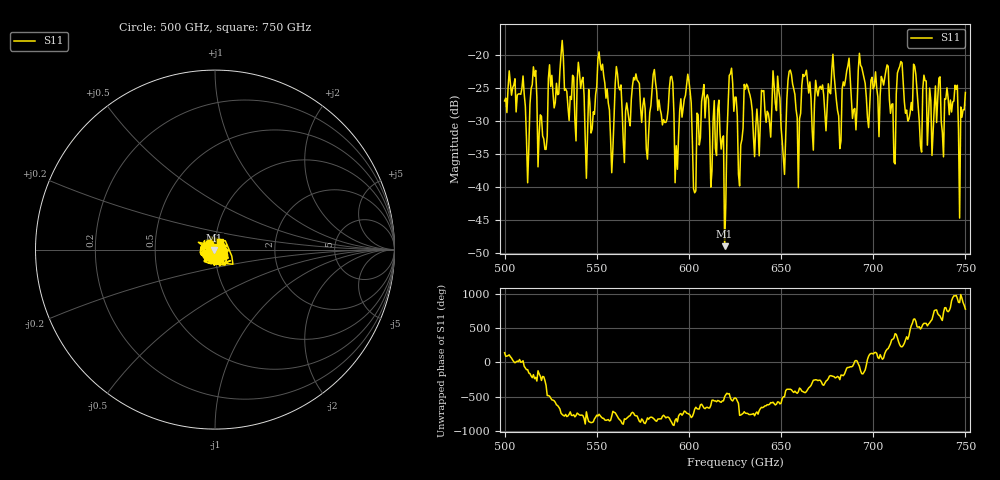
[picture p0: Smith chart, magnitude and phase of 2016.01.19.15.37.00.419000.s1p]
!Created with skrf (http://scikit-rf.org).
# GHz S RI R 50.0
!freq ReS11 ImS11
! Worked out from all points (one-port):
!   401 points, 500 GHz to 750 GHz, reference 50 ohm
!   lowest |S11| = -49.0 dB at 619.4 GHz (marker M1), VSWR 1.01, Z = 49.7 - j0.218 ohm
!   |S11| at or under -10 dB: start of sweep to end of sweep
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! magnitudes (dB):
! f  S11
! 500 GHz  -27.0
! 512.5 GHz  -39.4
! 515.6 GHz  -21.8
! 521.9 GHz  -34.3
! 531.2 GHz  -17.8
! 545 GHz  -32.3
! 551.9 GHz  -21.3
! 558.1 GHz  -37.8
! 562.5 GHz  -25.3
! 590.6 GHz  -23.2
! 593.8 GHz  -37.3
! 599.4 GHz  -22.9
! 602.5 GHz  -40.3
! 608.8 GHz  -29.5
! 619.4 GHz  -49.0
! 622.5 GHz  -22.8
! 625 GHz  -26.4
! 628.1 GHz  -33.6
! 631.2 GHz  -24.4
! 636.9 GHz  -28.2
! 646.9 GHz  -27.3
! 651.2 GHz  -35.5
! 656.2 GHz  -24.4
! 659.4 GHz  -40.1
! 662.5 GHz  -23.2
! 687.5 GHz  -23.5
! 718.8 GHz  -30.0
! 750 GHz  -25.7
